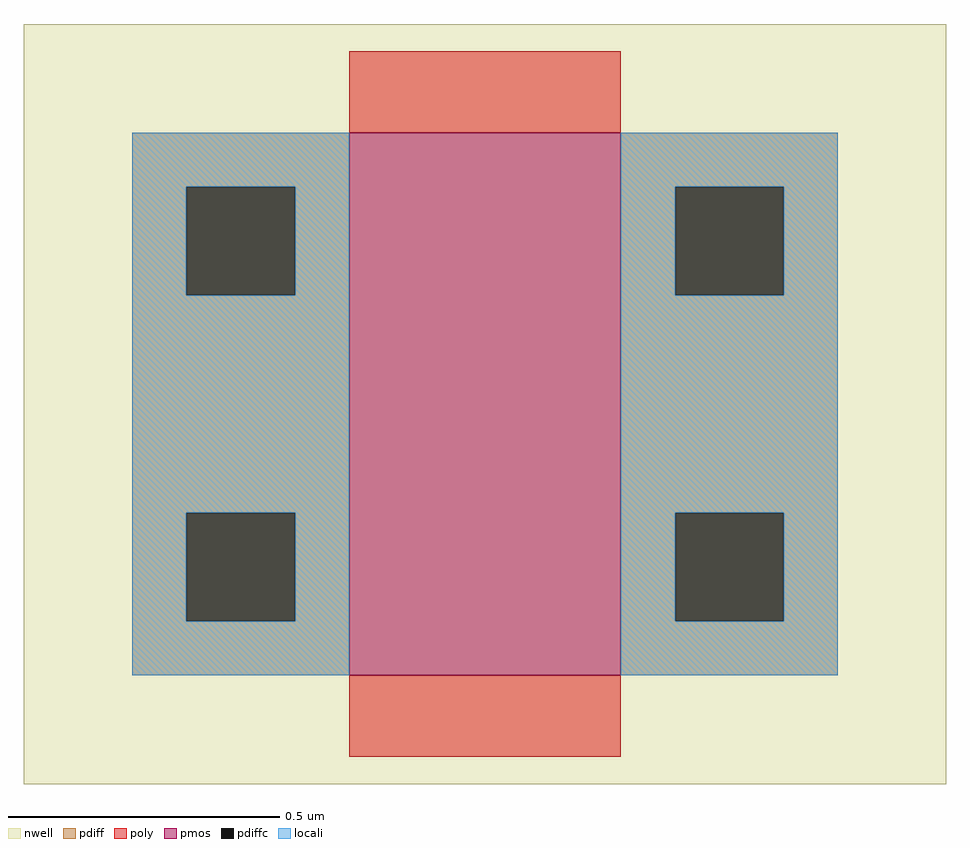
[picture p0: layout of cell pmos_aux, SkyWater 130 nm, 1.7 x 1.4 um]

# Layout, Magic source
magic
tech sky130A
<< nwell >>
rect -60 -20 110 120
<< pmos >>
rect 0 0 50 100
<< pdiff >>
rect -40 90 0 100
rect -40 70 -30 90
rect -10 70 0 90
rect -40 30 0 70
rect -40 10 -30 30
rect -10 10 0 30
rect -40 0 0 10
rect 50 90 90 100
rect 50 70 60 90
rect 80 70 90 90
rect 50 30 90 70
rect 50 10 60 30
rect 80 10 90 30
rect 50 0 90 10
<< pdiffc >>
rect -30 70 -10 90
rect -30 10 -10 30
rect 60 70 80 90
rect 60 10 80 30
<< poly >>
rect 0 100 50 115
rect 0 -15 50 0
<< locali >>
rect -40 90 0 100
rect -40 70 -30 90
rect -10 70 0 90
rect -40 30 0 70
rect -40 10 -30 30
rect -10 10 0 30
rect -40 0 0 10
rect 50 90 90 100
rect 50 70 60 90
rect 80 70 90 90
rect 50 30 90 70
rect 50 10 60 30
rect 80 10 90 30
rect 50 0 90 10
<< end >>
